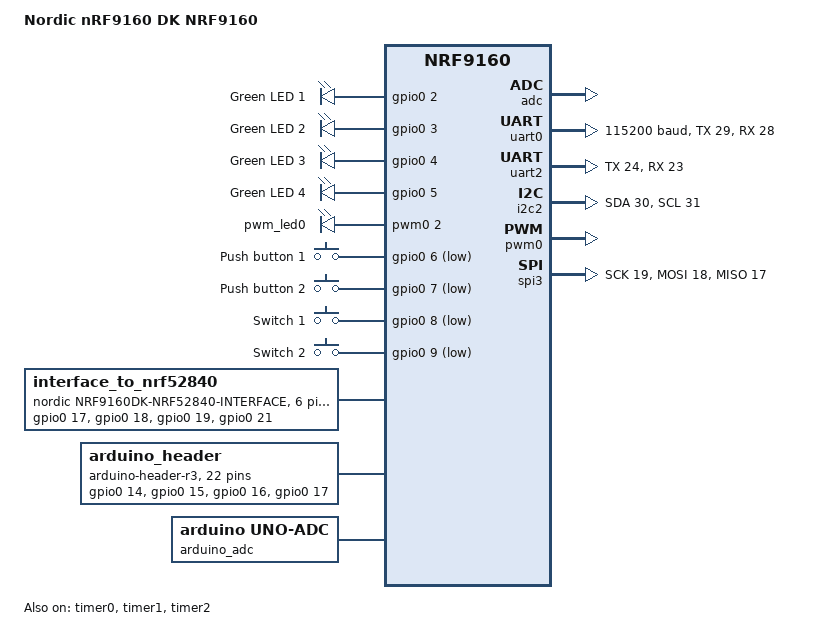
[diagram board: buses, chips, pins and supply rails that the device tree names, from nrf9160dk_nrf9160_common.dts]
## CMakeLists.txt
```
#
# Copyright (c) 2019 Nordic Semiconductor ASA
#
# SPDX-License-Identifier: LicenseRef-BSD-5-Clause-Nordic
#

cmake_minimum_required(VERSION 3.20.0)

if (EXISTS "${CMAKE_CURRENT_SOURCE_DIR}/spm.conf")
  set(spm_CONF_FILE
    prj.conf
    ${CMAKE_CURRENT_LIST_DIR}/spm.conf
  )
endif()

if (EXISTS "${CMAKE_CURRENT_SOURCE_DIR}/mcuboot.conf")
  set(mcuboot_CONF_FILE
    prj.conf
    ${CMAKE_CURRENT_LIST_DIR}/mcuboot.conf
  )
endif()

if (EXISTS "${CMAKE_CURRENT_SOURCE_DIR}/spm.overlay")
  set(spm_DTC_OVERLAY_FILE "${CMAKE_CURRENT_SOURCE_DIR}/spm.overlay")
endif()

if (EXISTS "${CMAKE_CURRENT_SOURCE_DIR}/mcuboot.overlay")
  set(mcuboot_DTC_OVERLAY_FILE "${CMAKE_CURRENT_SOURCE_DIR}/mcuboot.overlay")
endif()

#include($ENV{ZEPHYR_BASE}/cmake/app/boilerplate.cmake NO_POLICY_SCOPE)
find_package(Zephyr REQUIRED HINTS $ENV{ZEPHYR_BASE})
project(E2)

#FILE(GLOB app_sources src/*.c)
target_sources(app PRIVATE src/main.c)
target_include_directories(app PRIVATE $ENV{ZEPHYR_BASE}/subsys/fs/nvs)

add_subdirectory(src/datetime)
add_subdirectory(src/alarm)
add_subdirectory(src/font)
add_subdirectory(src/image)
add_subdirectory(src/lcd)
add_subdirectory(src/key)
add_subdirectory(src/settings)
add_subdirectory(src/inner_flash)
add_subdirectory(src/external_flash)
add_subdirectory(src/uart_ble)
add_subdirectory(src/imei)
add_subdirectory(src/gps)
add_subdirectory(src/nb)
add_subdirectory(src/screen)
add_subdirectory(src/pmu)
add_subdirectory(src/sos)
add_subdirectory(src/codetrans)
add_subdirectory(src/ucs2)
add_subdirectory(src/communicate)
add_subdirectory(src/logger)
#add_subdirectory(src/cryptoauthentication)

add_subdirectory_ifdef(CONFIG_ANIMATION_SUPPORT src/animation)
add_subdirectory_ifdef(CONFIG_TOUCH_SUPPORT src/tp)
add_subdirectory_ifdef(CONFIG_IMU_SUPPORT src/imu)
add_subdirectory_ifdef(CONFIG_PPG_SUPPORT src/ppg)
add_subdirectory_ifdef(CONFIG_AUDIO_SUPPORT src/audio)
add_subdirectory_ifdef(CONFIG_TEMP_SUPPORT src/temperature)
add_subdirectory_ifdef(CONFIG_CRC_SUPPORT src/crc_check)
add_subdirectory_ifdef(CONFIG_SYNC_SUPPORT src/sync)
add_subdirectory_ifdef(CONFIG_WIFI src/wifi)
add_subdirectory_ifdef(CONFIG_WATCHDOG src/watchdog)
add_subdirectory_ifdef(CONFIG_FOTA_DOWNLOAD src/fota)
add_subdirectory_ifdef(CONFIG_DATA_DOWNLOAD_SUPPORT src/data_download)
```

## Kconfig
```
#
# Copyright (c) 2018 Nordic Semiconductor ASA
#
# SPDX-License-Identifier: LicenseRef-BSD-5-Clause-Nordic
#
choice LOG_MODE
	default LOG_MODE_IMMEDIATE
endchoice

menu "GNSS"

choice
	default GNSS_SAMPLE_MODE_CONTINUOUS
	prompt "Select GNSS operation mode"

config GNSS_SAMPLE_MODE_CONTINUOUS
	bool "Continuous tracking"

config GNSS_SAMPLE_MODE_PERIODIC
	bool "Periodic fixes"

config GNSS_SAMPLE_MODE_TTFF_TEST
	bool "Time-to-first-fix (TTFF) test mode"
	select GNSS_SAMPLE_NMEA_ONLY

endchoice

if GNSS_SAMPLE_MODE_PERIODIC

config GNSS_SAMPLE_PERIODIC_INTERVAL
	int "Fix interval for periodic fixes"
	range 10 65535
	default 120
	help
	  Fix interval (in seconds) for periodic fixes.

config GNSS_SAMPLE_PERIODIC_TIMEOUT
	int "Fix timeout for periodic fixes"
	range 0 65535
	default 120
	help
	  Fix timeout (in seconds) for periodic fixes.
	  If set to zero, GNSS is allowed to run indefinitely until a valid PVT estimate is produced.

endif # GNSS_SAMPLE_MODE_PERIODIC

if GNSS_SAMPLE_MODE_TTFF_TEST

config GNSS_SAMPLE_MODE_TTFF_TEST_COLD_START
	bool "Delete GNSS data before each start (cold start)"
	help
	  When enabled, deletes all stored data from GNSS to force a cold start every time GNSS is started.

config GNSS_SAMPLE_MODE_TTFF_TEST_INTERVAL
	int "Time to wait between TTFF tests in seconds"
	range 1 604800
	default 120

endif # GNSS_SAMPLE_MODE_TTFF_TEST

config GNSS_SAMPLE_NMEA_ONLY
	bool "Output only NMEA strings"
	help
	  Outputs only NMEA strings from the GNSS.

choice
	default GNSS_SAMPLE_ANTENNA_ONBOARD
	prompt "Select which antenna to use for GNSS"

config GNSS_SAMPLE_ANTENNA_ONBOARD
	bool "Use onboard antenna"

config GNSS_SAMPLE_ANTENNA_EXTERNAL
	bool "Use external antenna"

endchoice

config GNSS_SAMPLE_AT_MAGPIO
	string "AT%XMAGPIO command"
	# default "AT\%XMAGPIO=1,0,0,1,1,1574,1577" if BOARD_NRF9160DK_NRF9160_NS
	# default "AT\%XMAGPIO=1,1,1,7,1,746,803,2,698,748,2,1710,2200,3,824,894,4,880,960,5,791,849,7,1565,1586" if BOARD_THINGY91_NRF9160_NS
	default "AT\%XMAGPIO=1,1,1,7,1,746,803,2,698,748,2,1710,2200,3,824,894,4,880,960,5,791,849,7,1565,1586"
	help
	  Defines the AT%XMAGPIO command to be sent to GNSS module. Leave
	  empty if this command should not be sent.

config GNSS_SAMPLE_AT_COEX0
	string "AT%XCOEX0 command"
	# default "AT\%XCOEX0=1,1,1565,1586" if (BOARD_NRF9160DK_NRF9160_NS || BOARD_THINGY91_NRF9160_NS) && GNSS_SAMPLE_ANTENNA_ONBOARD
	# default "AT\%XCOEX0" if (BOARD_NRF9160DK_NRF9160_NS || BOARD_THINGY91_NRF9160_NS) && GNSS_SAMPLE_ANTENNA_EXTERNAL
	default "AT\%XCOEX0=1,1,1565,1586"
	help
	  Defines the AT%XCOEX0 command to be sent to GNSS module. Leave
	  empty if this command should not be sent.

endmenu

choice
	default GNSS_SAMPLE_ASSISTANCE_NONE
	prompt "Select whether GNSS assistance is used or not"

config GNSS_SAMPLE_ASSISTANCE_NONE
	bool "Assistance not used"

config GNSS_SAMPLE_ASSISTANCE_NRF_CLOUD
	bool "Use nRF Cloud A-GPS or P-GPS"
	select NRF_CLOUD_REST
	imply NRF_CLOUD_AGPS
	select MODEM_JWT
	select MODEM_INFO
	select DATE_TIME

config GNSS_SAMPLE_ASSISTANCE_SUPL
	bool "Use SUPL A-GPS"
	select SUPL_CLIENT_LIB

config GNSS_SAMPLE_ASSISTANCE_MINIMAL
	bool "Use factory almanac, LTE network time and MCC based location"
	select GNSS_SAMPLE_LTE_ON_DEMAND
	select SETTINGS
	select FCB
	select FLASH
	select FLASH_MAP

endchoice

if !GNSS_SAMPLE_ASSISTANCE_NONE

config GNSS_SAMPLE_LTE_ON_DEMAND
	bool "LTE is activated only when needed to fetch A-GPS data"
	depends on !NRF_CLOUD_PGPS
	help
	  Activates LTE only when it is needed to fetch A-GPS data. This is not supported when
	  P-GPS is enabled.

endif # !GNSS_SAMPLE_ASSISTANCE_NONE

if GNSS_SAMPLE_ASSISTANCE_SUPL

config GNSS_SAMPLE_SUPL_HOSTNAME
	string "SUPL server hostname"
	default "supl.google.com"
	help
	  SUPL server hostname.

config GNSS_SAMPLE_SUPL_PORT
	int "SUPL server port number"
	range 0 65535
	default 7276
	help
	  SUPL server port number.

endif # GNSS_SAMPLE_ASSISTANCE_SUPL

if GNSS_SAMPLE_MODE_CONTINUOUS

choice
	default GNSS_SAMPLE_POWER_SAVING_DISABLED
	prompt "Select GNSS power saving mode (duty-cycling)"

config GNSS_SAMPLE_POWER_SAVING_DISABLED
	bool "No power saving"

config GNSS_SAMPLE_POWER_SAVING_MODERATE
	bool "Power saving without significant performance degradation"

config GNSS_SAMPLE_POWER_SAVING_HIGH
	bool "Power saving with acceptable performance degradation"

endchoice

endif # GNSS_SAMPLE_MODE_CONTINUOUS

config GNSS_SAMPLE_LOW_ACCURACY
	bool "Allow low accuracy fixes"
	help
	  Allows fixes with lower accuracy.

if GNSS_SAMPLE_ASSISTANCE_MINIMAL && GNSS_SAMPLE_LOW_ACCURACY

config GNSS_SAMPLE_ASSISTANCE_REFERENCE_ALT
	int "Reference altitude for 3-sat first fix in meters"
	range -32767 32767
	default -32767
	help
	  Reference altitude for 3-sat first fix in meters above the reference ellipsoid surface.
	  The default value -32767 implies that reference altitude is not injected.

endif # GNSS_SAMPLE_ASSISTANCE_MINIMAL && GNSS_SAMPLE_LOW_ACCURACY

menu "MQTT simple sample"
config APPLICATION_WORKQUEUE_STACK_SIZE
	int "Application workqueue stack size"
	default 1024

config APPLICATION_WORKQUEUE_PRIORITY
	int "Application workqueue priority"
	default SYSTEM_WORKQUEUE_PRIORITY
	
config MQTT_PUB_TOPIC
	string "MQTT publish topic"
	default "my/publish/topic"

config MQTT_SUB_TOPIC
	string "MQTT subscribe topic"
	default "my/subscribe/topic"

config MQTT_CLIENT_ID
	string "MQTT Client ID"
	default "my-client-id"

config MQTT_USER_NAME
	string "MQTT user name"
	default "admin123"
	
config MQTT_PASSWORD
	string "MQTT password"
	default "admin123"

config MQTT_DOMESTIC_BROKER_HOSTNAME
	string "MQTT broker hostname"
	default "mqtt.eclipse.org"

config MQTT_DOMESTIC_BROKER_PORT
	int "MQTT broker port"
	default 1883
	
config MQTT_FOREIGN_BROKER_HOSTNAME
	string "MQTT broker hostname"
	default "mqtt.eclipse.org"

config MQTT_FOREIGN_BROKER_PORT
	int "MQTT broker port"
	default 1883

config MQTT_MESSAGE_BUFFER_SIZE
	int "MQTT message buffer size"
	default 128

config MQTT_PAYLOAD_BUFFER_SIZE
	int "MQTT payload buffer size"
	default 128

config SEC_TAG
	int "Security tag to use for the connection"
	default 16842753

config PEER_VERIFY
	int "Peer verify parameter for mqtt_client"
	default 1
	help
		Set to 0 for VERIFY_NONE, 1 for VERIFY_OPTIONAL, and 2 for VERIFY_REQUIRED.

config MODEM_AUTO_REQUEST_POWER_SAVING_FEATURES
	bool "Auto request power saving features"
	default y

config LTE_EDRX_ENABLE
	bool "Enable LTE enhanced Discontinuous Reception"

config LTE_RAI_ENABLE
	bool "Enable LTE Release Assistance Indication"
endmenu

menu "WATCH DOG"
config WATCHDOG_TIMEOUT_MSEC
	int "Watchdog timeout in milliseconds"
	default 10000
endmenu

menu "ANIMATION"
config ANIMATION_SUPPORT
	bool "animation support"
	default n
endmenu #ANIMATION

menu "TOUCH"
config TOUCH_SUPPORT
	bool "touch support"
	default n
endmenu #TOUCH

menu "PPG"
config PPG_SUPPORT
	bool "ppg support"
	default n
endmenu #PPG


menu "IMU"
config IMU_SUPPORT
	bool "imu support"
	default n
config STEP_SUPPORT
	bool "step support"
	default n		
config SLEEP_SUPPORT
	bool "sleep support"
	default n		
config FALL_DETECT_SUPPORT
	bool "fall detect support"
	default n		
endmenu #IMU

menu "AUDIO"
config AUDIO_SUPPORT
	bool "ppg support"
	default n
endmenu #AUDIO

menu "SYNC"
config SYNC_SUPPORT
	bool "sync support"
	default n
endmenu #SYNC

menu "TEMPERATURE"
config TEMP_SUPPORT
	bool "temperature support"
	default n
endmenu #TEMPERATURE

menu "CRC"
config CRC_SUPPORT
	bool "crc check support"
	default n
endmenu #CRC

menu "DATA_DOWNLOAD"
config DATA_DOWNLOAD_SUPPORT
	bool "data download support"
	default n
config DATA_DOWNLOAD_HOST_CN
	string "Download host name(cn)"	
config DATA_DOWNLOAD_HOST_HK
	string "Download host name(hk)"	
# IMG	
config IMG_DATA_UPDATE
	bool "img update support"
	default n
config IMG_DATA_DOWNLOAD_FILE
	string "The file to download"

# FONT
config FONT_DATA_UPDATE
	bool "font update support"
	default n
config FONT_DATA_DOWNLOAD_FILE
	string "The file to download"

# PPG
config PPG_DATA_UPDATE
	bool "ppg update support"
	default n
config PPG_DATA_DOWNLOAD_FILE
	string "The file to download"

config USE_HTTPS
	bool
	prompt "Use HTTPS for download"
	depends on DOWNLOAD_CLIENT_TLS	
endmenu #DATA_DOWNLOAD 

menu "IMG_UPDATE"
config DL_TARGET_UI
	bool "img ui update support"
	default n
endmenu #IMG_UPDATE

menu "FOTA_MQTT"
config FOTA_DOWNLOAD_HOST_CN
	string "Download host name(cn)"
config FOTA_DOWNLOAD_HOST_HK
	string "Download host name(hk)"

config FOTA_DOWNLOAD_FILE
	string "The file to download"

config APPLICATION_VERSION
	int "Application version"
	default 1

config USE_HTTPS
	bool
	prompt "Use HTTPS for download"
	depends on DOWNLOAD_CLIENT_TLS
endmenu #FOTA_MQTT

menu "Zephyr Kernel"
source "Kconfig.zephyr"
endmenu

module = APPLICATION_MODULE
module-str = Application module
source "subsys/logging/Kconfig.template.log_config"
```

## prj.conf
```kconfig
#
# Copyright (c) 2019 Nordic Semiconductor ASA
#
# SPDX-License-Identifier: LicenseRef-BSD-5-Clause-Nordic
#
# General config
CONFIG_NEWLIB_LIBC=y
CONFIG_NEWLIB_LIBC_FLOAT_PRINTF=y
CONFIG_ASSERT=y
CONFIG_REBOOT=y
CONFIG_GPIO=y
CONFIG_TRUSTED_EXECUTION_NONSECURE=y

# Log
CONFIG_LOG=y
CONFIG_USE_SEGGER_RTT=y
CONFIG_LOG_BACKEND_RTT=y
CONFIG_LOG_BACKEND_UART=n
CONFIG_LOG_DEFAULT_LEVEL=4
CONFIG_LOG_MODE_OVERFLOW=y
CONFIG_LOG_BACKEND_RTT_MODE_DROP=y
CONFIG_LOG_BACKEND_SHOW_COLOR=n
CONFIG_LOG_BACKEND_FORMAT_TIMESTAMP=n

# watch dog
CONFIG_WATCHDOG=y
CONFIG_WATCHDOG_TIMEOUT_MSEC=10000

# Modem info
CONFIG_MODEM_INFO=y

# Modem library
CONFIG_NRF_MODEM_LIB=y
CONFIG_NRF_MODEM_LIB_SYS_INIT=n

# BSD library
#CONFIG_BSD_LIBRARY=y
#CONFIG_BSD_LIBRARY_TRACE_ENABLED=n

# NVS
CONFIG_FLASH=y
CONFIG_FLASH_PAGE_LAYOUT=y
CONFIG_NVS=y
CONFIG_NVS_LOG_LEVEL_DBG=y
CONFIG_MPU_ALLOW_FLASH_WRITE=y

# GPS
# Enable to use an external GNSS antenna
CONFIG_GNSS_SAMPLE_ANTENNA_EXTERNAL=y
# Enable to use nRF Cloud A-GPS
CONFIG_GNSS_SAMPLE_ASSISTANCE_NRF_CLOUD=n
# Secure User-Plane Location (SUPL) client library (https://developer.nordicsemi.com/nRF_Connect_SDK/doc/latest/nrf/libraries/others/supl_os_client.html)
CONFIG_GNSS_SAMPLE_ASSISTANCE_SUPL=y

# AT_CMD
#CONFIG_AT_HOST_LIBRARY=y
#CONFIG_UART_INTERRUPT_DRIVEN=y

# Console
CONFIG_CONSOLE_SUBSYS=n
CONFIG_CONSOLE_HANDLER=n
CONFIG_CONSOLE_GETCHAR=n
CONFIG_CONSOLE=y
CONFIG_RTT_CONSOLE=y
CONFIG_UART_CONSOLE=n

# Network
CONFIG_NETWORKING=y
CONFIG_NET_NATIVE=n
CONFIG_NET_SOCKETS_OFFLOAD=y
CONFIG_NET_SOCKETS=y
CONFIG_NET_SOCKETS_POSIX_NAMES=y

# LTE link control
CONFIG_LTE_LINK_CONTROL=y
CONFIG_LTE_AUTO_INIT_AND_CONNECT=n
CONFIG_LTE_NETWORK_USE_FALLBACK=y
CONFIG_LTE_NETWORK_TIMEOUT=120
CONFIG_LTE_NETWORK_MODE_LTE_M_GPS=n
CONFIG_LTE_NETWORK_MODE_NBIOT_GPS=y

# PSM
CONFIG_MODEM_AUTO_REQUEST_POWER_SAVING_FEATURES=y
# Set Periodic-TAU timer to 1 hour and Active-Time to 10 seconds.
CONFIG_LTE_PSM_REQ_RPTAU="01000110"
CONFIG_LTE_PSM_REQ_RAT="00000101"

# MQTT
CONFIG_MQTT_LIB=y
CONFIG_MQTT_LIB_TLS=n
CONFIG_MQTT_KEEPALIVE=300
CONFIG_MQTT_PUB_TOPIC="device/e2/pushdata"
CONFIG_MQTT_SUB_TOPIC="device/e2/"
CONFIG_MQTT_CLIENT_ID="my-client-id"
CONFIG_MQTT_USER_NAME="admin123"
CONFIG_MQTT_PASSWORD="admin123"
CONFIG_MQTT_DOMESTIC_BROKER_HOSTNAME="47.107.51.89"
CONFIG_MQTT_DOMESTIC_BROKER_PORT=1883
CONFIG_MQTT_FOREIGN_BROKER_HOSTNAME="18.135.53.53"
CONFIG_MQTT_FOREIGN_BROKER_PORT=1883
CONFIG_MQTT_MESSAGE_BUFFER_SIZE=512
CONFIG_MQTT_PAYLOAD_BUFFER_SIZE=512

# Library for buttons and LEDs
CONFIG_DK_LIBRARY=y
CONFIG_DK_LIBRARY_INVERT_LEDS=n

# Heap and stacks
CONFIG_HEAP_MEM_POOL_SIZE=16384
CONFIG_MAIN_STACK_SIZE=8192
CONFIG_SYSTEM_WORKQUEUE_STACK_SIZE=2048
CONFIG_HW_STACK_PROTECTION=y

# SPI
CONFIG_SPI=y

# I2C
CONFIG_I2C=y

# UART
CONFIG_SERIAL=y
CONFIG_UART_INTERRUPT_DRIVEN=y

# ANIMATION
CONFIG_ANIMATION_SUPPORT=y

# PPG
CONFIG_PPG_SUPPORT=y

# IMU
CONFIG_IMU_SUPPORT=y
CONFIG_STEP_SUPPORT=n
CONFIG_SLEEP_SUPPORT=n
CONFIG_FALL_DETECT_SUPPORT=n

# WIFI
CONFIG_WIFI=n

# TP
CONFIG_TOUCH_SUPPORT=y

# AUDIO
CONFIG_AUDIO_SUPPORT=n

# Data Sync
CONFIG_SYNC_SUPPORT=y

# Temperature
CONFIG_TEMP_SUPPORT=y

# CRC Check
CONFIG_CRC_SUPPORT=y

# DEVICE POWER MANAGEMENT
CONFIG_PM_DEVICE=y

# Download client
CONFIG_DOWNLOAD_CLIENT=y
CONFIG_DOWNLOAD_CLIENT_MAX_HOSTNAME_SIZE=192
CONFIG_DOWNLOAD_CLIENT_MAX_FILENAME_SIZE=64
CONFIG_DOWNLOAD_CLIENT_STACK_SIZE=4096

# DATA UPDATE
CONFIG_DATA_DOWNLOAD_SUPPORT=y
CONFIG_DATA_DOWNLOAD_HOST_HK="aug-fm-files-hk.oss-cn-hongkong.aliyuncs.com"
CONFIG_DATA_DOWNLOAD_HOST_CN="aug-fm-files-cn.oss-cn-shenzhen.aliyuncs.com"
# IMG
CONFIG_IMG_DATA_UPDATE=y
CONFIG_IMG_DATA_DOWNLOAD_FILE="e2_img.bin"
# FONT
CONFIG_FONT_DATA_UPDATE=y
CONFIG_FONT_DATA_DOWNLOAD_FILE="e2_font.bin"
# PPG
CONFIG_PPG_DATA_UPDATE=y
CONFIG_PPG_DATA_DOWNLOAD_FILE="e2_ppg.bin"

# fota download
CONFIG_FOTA_DOWNLOAD=y
CONFIG_FOTA_DOWNLOAD_PROGRESS_EVT=y
CONFIG_FOTA_DOWNLOAD_HOST_HK="aug-fm-files-hk.oss-cn-hongkong.aliyuncs.com"
CONFIG_FOTA_DOWNLOAD_HOST_CN="aug-fm-files-cn.oss-cn-shenzhen.aliyuncs.com"
CONFIG_FOTA_DOWNLOAD_FILE="e2_update.bin"

# Image manager
CONFIG_IMG_MANAGER=y
CONFIG_FLASH=y
CONFIG_IMG_ERASE_PROGRESSIVELY=y

# DFU Target
CONFIG_DFU_TARGET=y

# Modem key management
CONFIG_MODEM_KEY_MGMT=y

# Application Upgrade support
CONFIG_BOOTLOADER_MCUBOOT=y
```

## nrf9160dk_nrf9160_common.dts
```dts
/*
 * Copyright (c) 2018-2020 Nordic Semiconductor ASA
 *
 * SPDX-License-Identifier: Apache-2.0
 */

 / {
	model = "Nordic nRF9160 DK NRF9160";
	compatible = "nordic,nrf9160-dk-nrf9160";

	chosen {
		zephyr,console = &uart0;
		zephyr,shell-uart = &uart0;
		zephyr,uart-mcumgr = &uart0;
	};

	leds {
		compatible = "gpio-leds";
		led0: led_0 {
			gpios = <&gpio0 2 0>;
			label = "Green LED 1";
		};
		led1: led_1 {
			gpios = <&gpio0 3 0>;
			label = "Green LED 2";
		};
		led2: led_2 {
			gpios = <&gpio0 4 0>;
			label = "Green LED 3";
		};
		led3: led_3 {
			gpios = <&gpio0 5 0>;
			label = "Green LED 4";
		};
	};

	pwmleds {
		compatible = "pwm-leds";
		pwm_led0: pwm_led_0 {
			pwms = <&pwm0 2>;
		};
	};

	buttons {
		/*
		 * Unlike most DK boards, we do not actually have 4 buttons
		 * on nRF9160 DK. Instead, we have 2 buttons and 2 switches.
		 * Treat the switches as buttons anyway, for convenience.
		 * This makes life easier for software that wants to deal with
		 * the usual "4 buttons per DK board" convention.
		 */
		compatible = "gpio-keys";
		button0: button_0 {
			gpios = <&gpio0 6 (GPIO_PULL_UP | GPIO_ACTIVE_LOW)>;
			label = "Push button 1";
		};
		button1: button_1 {
			gpios = <&gpio0 7 (GPIO_PULL_UP | GPIO_ACTIVE_LOW)>;
			label = "Push button 2";
		};
		button2: button_2 {
			gpios = <&gpio0 8 (GPIO_PULL_UP | GPIO_ACTIVE_LOW)>;
			label = "Switch 1";
		};
		button3: button_3 {
			gpios = <&gpio0 9 (GPIO_PULL_UP | GPIO_ACTIVE_LOW)>;
			label = "Switch 2";
		};
	};

	interface_to_nrf52840: gpio-interface {
		compatible = "nordic,nrf9160dk-nrf52840-interface";
		#gpio-cells = <2>;
		gpio-map-mask = <0xf 0>;
		gpio-map-pass-thru = <0 0xffffffff>;
		gpio-map = <0 0 &gpio0 17 0>,
			   <1 0 &gpio0 18 0>,
			   <2 0 &gpio0 19 0>,
			   <3 0 &gpio0 21 0>,
			   <4 0 &gpio0 22 0>,
			   <5 0 &gpio0 23 0>;
			   /* 6: COEX0 */
			   /* 7: COEX1 */
			   /* 8: COEX2 */
	};

	nrf52840_reset: gpio-reset {
		compatible = "nordic,nrf9160dk-nrf52840-reset";
		status = "disabled";
		/*
		 * This line is specified as active high for compatibility
		 * with the previously used Kconfig-based configuration.
		 */
		gpios = <&interface_to_nrf52840 5 GPIO_ACTIVE_HIGH>;
	};

	arduino_header: connector {
		compatible = "arduino-header-r3";
		#gpio-cells = <2>;
		gpio-map-mask = <0xffffffff 0xffffffc0>;
		gpio-map-pass-thru = <0 0x3f>;
		gpio-map = <0 0 &gpio0 14 0>,	/* A0 */
			   <1 0 &gpio0 15 0>,	/* A1 */
			   <2 0 &gpio0 16 0>,	/* A2 */
			   <3 0 &gpio0 17 0>,	/* A3 */
			   <4 0 &gpio0 18 0>,	/* A4 */
			   <5 0 &gpio0 19 0>,	/* A5 */
			   <6 0 &gpio0 0 0>,	/* D0 */
			   <7 0 &gpio0 1 0>,	/* D1 */
			   <8 0 &gpio0 2 0>,	/* D2 */
			   <9 0 &gpio0 3 0>,	/* D3 */
			   <10 0 &gpio0 4 0>,	/* D4 */
			   <11 0 &gpio0 5 0>,	/* D5 */
			   <12 0 &gpio0 6 0>,	/* D6 */
			   <13 0 &gpio0 7 0>,	/* D7 */
			   <14 0 &gpio0 8 0>,	/* D8 */
			   <15 0 &gpio0 9 0>,	/* D9 */
			   <16 0 &gpio0 10 0>,	/* D10 */
			   <17 0 &gpio0 11 0>,	/* D11 */
			   <18 0 &gpio0 12 0>,	/* D12 */
			   <19 0 &gpio0 13 0>,	/* D13 */
			   <20 0 &gpio0 30 0>,	/* D14 */
			   <21 0 &gpio0 31 0>;	/* D15 */
	};

	arduino_adc: analog-connector {
		compatible = "arduino,uno-adc";
		#io-channel-cells = <1>;
		io-channel-map = <0 &adc 1>,	/* A0 = P0.14 = AIN1 */
				 <1 &adc 2>,	/* A1 = P0.15 = AIN2 */
				 <2 &adc 3>,	/* A2 = P0.16 = AIN3 */
				 <3 &adc 4>,	/* A3 = P0.17 = AIN4 */
				 <4 &adc 5>,	/* A4 = P0.18 = AIN5 */
				 <5 &adc 6>;	/* A5 = P0.19 = AIN6 */
	};

	/* These aliases are provided for compatibility with samples */
	aliases {
		led0 = &led0;
		led1 = &led1;
		led2 = &led2;
		led3 = &led3;
		pwm-led0 = &pwm_led0;
		sw0 = &button0;
		sw1 = &button1;
		sw2 = &button2;
		sw3 = &button3;
		bootloader-led0 = &led0;
	};
};

&adc {
	status = "okay";
};

&gpiote {
	status = "okay";
};

&gpio0 {
	status = "okay";
};

&uart0 {
	status = "okay";
	current-speed = <115200>;
	tx-pin = <29>;
	rx-pin = <28>;
	rx-pull-up;
	rts-pin = <27>;
	cts-pin = <26>;
	cts-pull-up;
};

arduino_serial: &uart1 {
	status = "disabled";
	current-speed = <115200>;
	tx-pin = <1>;
	rx-pin = <0>;
	rx-pull-up;
	rts-pin = <14>;
	cts-pin = <15>;
	cts-pull-up;
};

&uart2 {
	tx-pin = <24>;
	rx-pin = <23>;
};

arduino_i2c: &i2c2 {
	compatible = "nordic,nrf-twim";
	status = "okay";
	sda-pin = <30>;
	scl-pin = <31>;
};

&pwm0 {
	status = "okay";
	ch0-pin = <2>;
};

&spi3 {
	compatible = "nordic,nrf-spim";
	status = "okay";
	sck-pin = <19>;
	mosi-pin = <18>;
	miso-pin = <17>;
};

&timer0 {
	status = "okay";
};

&timer1 {
	status = "okay";
};

&timer2 {
	status = "okay";
};

&flash0 {

	partitions {
		compatible = "fixed-partitions";
		#address-cells = <1>;
		#size-cells = <1>;

		boot_partition: partition@0 {
			label = "mcuboot";
			reg = <0x00000000 0x10000>;
		};
		slot0_partition: partition@10000 {
			label = "image-0";
		};
		slot0_ns_partition: partition@50000 {
			label = "image-0-nonsecure";
		};
		slot1_partition: partition@80000 {
			label = "image-1";
		};
		slot1_ns_partition: partition@c0000 {
			label = "image-1-nonsecure";
		};
		scratch_partition: partition@f0000 {
			label = "image-scratch";
			reg = <0x000f0000 0xa000>;
		};
		storage_partition: partition@fa000 {
			label = "storage";
			reg = <0x000fa000 0x00006000>;
		};
	};
};

/ {

	reserved-memory {
		#address-cells = <1>;
		#size-cells = <1>;
		ranges;

		sram0_s: image_s@20000000 {
			/* Secure image memory */
		};

		sram0_modem: image_modem@20016000 {
			/* Modem (shared) memory */
		};

		sram0_ns: image_ns@20020000 {
			/* Non-Secure image memory */
		};
	};
};

/* Include partition configuration file */
#include "nrf9160dk_nrf9160_partition_conf.dts"
```

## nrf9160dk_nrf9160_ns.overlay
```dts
&spi2{
	compatible = "nordic,nrf-spim";
	status = "okay";
	sck-pin = <3>;
	mosi-pin = <4>;
	miso-pin = <5>;
};

&spi3{
	compatible = "nordic,nrf-spim";
	status = "okay";
	sck-pin = <22>;
	mosi-pin = <20>;
	miso-pin = <20>;
};

&i2c1{
	compatible = "nordic,nrf-twim";
	status = "okay";
	sda-pin = <30>;
	scl-pin = <31>;
	clock-frequency = <I2C_BITRATE_FAST>;
};

&i2c2{
	compatible = "nordic,nrf-twim";
	status = "disabled";
};

&uart0{
	status = "okay";
	current-speed = <115200>;
	tx-pin = <29>;
	rx-pin = <28>;
	#rts-pin = <14>;
	#cts-pin = <15>;
};

&uart1{
	status = "disabled";
};
```

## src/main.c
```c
/*
* Copyright (c) 2019 Nordic Semiconductor ASA
*
* SPDX-License-Identifier: LicenseRef-BSD-5-Clause-Nordic
*/

#include <nrf9160.h>
#include <zephyr.h>
#include <kernel_structs.h>
#include <device.h>
#include <stdio.h>
#include <sys/printk.h>
#include <power/reboot.h>
#include <drivers/spi.h>
#include <drivers/gpio.h>
#include <dk_buttons_and_leds.h>
#include "lcd.h"
#include "datetime.h"
#include "font.h"
#include "img.h"
#include "inner_flash.h"
#include "external_flash.h"
#include "uart_ble.h"
#include "settings.h"
#ifdef CONFIG_TOUCH_SUPPORT
#include "CST816.h"
#endif
#include "Max20353.h"
#ifdef CONFIG_IMU_SUPPORT
#include "lsm6dso.h"
#endif
#include "Alarm.h"
#include "gps.h"
#include "screen.h"
#include "codetrans.h"
#ifdef CONFIG_AUDIO_SUPPORT
#include "audio.h"
#endif
#ifdef CONFIG_WATCHDOG
#include "watchdog.h"
#endif
#ifdef CONFIG_TEMP_SUPPORT
#include "temp.h"
#endif
#include "logger.h"

//#define ANALOG_CLOCK
#define DIGITAL_CLOCK
#define PI 3.1415926

static bool sys_pwron_completed_flag = false;
static uint8_t show_pic_count = 0;//图片显示顺序

/* Stack definition for application workqueue */
K_THREAD_STACK_DEFINE(nb_stack_area,
		      4096);
static struct k_work_q nb_work_q;

#ifdef CONFIG_IMU_SUPPORT
K_THREAD_STACK_DEFINE(imu_stack_area,
              2048);
static struct k_work_q imu_work_q;
#endif

K_THREAD_STACK_DEFINE(gps_stack_area,
              2048);
static struct k_work_q gps_work_q;

#if defined(ANALOG_CLOCK)
static void test_show_analog_clock(void);
#elif defined(DIGITAL_CLOCK)
static void test_show_digital_clock(void);
#endif
static void idle_show_time(void);

#ifdef ANALOG_CLOCK
void ClearAnalogHourPic(int hour)
{
	uint16_t offset_x=4,offset_y=4;
	uint16_t hour_x,hour_y,hour_w,hour_h;

	LCD_get_pic_size(clock_hour_1_31X31,&hour_w,&hour_h);
	hour_x = (LCD_WIDTH)/2;
	hour_y = (LCD_HEIGHT)/2;

	if((hour%12) == 3)
		LCD_Fill(hour_x-offset_x,hour_y+offset_y-hour_h,hour_w,hour_h,BLACK);
	else if((hour%12) == 6)
		LCD_Fill(hour_x-offset_x,hour_y-offset_y,hour_w,hour_h,BLACK);
	else if((hour%12) == 9)
		LCD_Fill(hour_x+offset_x-hour_w,hour_y-offset_y,hour_w,hour_h,BLACK);
	else if((hour%12) == 0)
		LCD_Fill(hour_x+offset_x-hour_w,hour_y+offset_y-hour_h,hour_w,hour_h,BLACK);
}

void DrawAnalogHourPic(int hour)
{
	uint16_t offset_x=4,offset_y=4;
	uint16_t hour_x,hour_y,hour_w,hour_h;
	unsigned int *hour_pic[3] = {clock_hour_1_31X31,clock_hour_2_31X31,clock_hour_3_31X31};

	LCD_get_pic_size(clock_hour_1_31X31,&hour_w,&hour_h);
	hour_x = (LCD_WIDTH)/2;
	hour_y = (LCD_HEIGHT)/2;

	if((hour%12)<3)
		LCD_dis_pic_rotate(hour_x-offset_x,hour_y+offset_y-hour_h,hour_pic[hour%3],0);
	else if(((hour%12)>=3) && ((hour%12)<6))
		LCD_dis_pic_rotate(hour_x-offset_x,hour_y-offset_y,hour_pic[hour%3],90);
	else if(((hour%12)>=6) && ((hour%12)<9))
		LCD_dis_pic_rotate(hour_x+offset_x-hour_w,hour_y-offset_y,hour_pic[hour%3],180);
	else if(((hour%12)>=9) && ((hour%12)<12))
		LCD_dis_pic_rotate(hour_x+offset_x-hour_w,hour_y+offset_y-hour_h,hour_pic[hour%3],270);
}

void ClearAnalogMinPic(int minute)
{
	uint16_t offset_x=4,offset_y=4;
	uint16_t min_x,min_y,min_w,min_h;
	
	LCD_get_pic_size(clock_min_1_31X31,&min_w,&min_h);
	min_x = (LCD_WIDTH)/2;
	min_y = (LCD_HEIGHT)/2;

	if(minute == 15)
		LCD_Fill(min_x-offset_x,min_y+offset_y-min_h,min_w,min_h,BLACK);
	else if(minute == 30)
		LCD_Fill(min_x-offset_x,min_y-offset_y,min_w,min_h,BLACK);
	else if(minute == 45)
		LCD_Fill(min_x+offset_x-min_w,min_y-offset_y,min_w,min_h,BLACK);
	else if(minute == 0)
		LCD_Fill(min_x+offset_x-min_w,min_y+offset_y-min_h,min_w,min_h,BLACK);
}

void DrawAnalogMinPic(int hour, int minute)
{
	uint16_t offset_x=4,offset_y=4;
	uint16_t min_x,min_y,min_w,min_h;
	unsigned int *min_pic[15] = {clock_min_1_31X31,clock_min_2_31X31,clock_min_3_31X31,clock_min_4_31X31,clock_min_5_31X31,\
								 clock_min_6_31X31,clock_min_7_31X31,clock_min_8_31X31,clock_min_9_31X31,clock_min_10_31X31,\
								 clock_min_11_31X31,clock_min_12_31X31,clock_min_13_31X31,clock_min_14_31X31,clock_min_15_31X31};
	
	LCD_get_pic_size(clock_min_1_31X31,&min_w,&min_h);
	min_x = (LCD_WIDTH)/2;
	min_y = (LCD_HEIGHT)/2;

	if(minute<15)
	{
		if((hour%12)<3)							//分针时针有重叠，透明显示
		{
			DrawAnalogHourPic(hour);
			LCD_dis_pic_trans_rotate(min_x-offset_x,min_y+offset_y-min_h,min_pic[minute%15],BLACK,0);
		}
		else if((hour%12)==3)		//临界点，分针不透明显示，但是不能遮盖时针
		{
			LCD_dis_pic_rotate(min_x-offset_x,min_y+offset_y-min_h,min_pic[minute%15],0);
			DrawAnalogHourPic(hour);
		}
		else
			LCD_dis_pic_rotate(min_x-offset_x,min_y+offset_y-min_h,min_pic[minute%15],0);
	}
	else if((minute>=15) && (minute<30))
	{
		if(((hour%12)>=3) && ((hour%12)<6))	//分针时针有重叠，透明显示
		{
			DrawAnalogHourPic(hour);
			LCD_dis_pic_trans_rotate(min_x-offset_x,min_y-offset_y,min_pic[minute%15],BLACK,90);
		}
		else if((hour%12)==6)		//临界点，分针不透明显示，但是不能遮盖时针
		{
			LCD_dis_pic_rotate(min_x-offset_x,min_y-offset_y,min_pic[minute%15],90);
			DrawAnalogHourPic(hour);
		}
		else
			LCD_dis_pic_rotate(min_x-offset_x,min_y-offset_y,min_pic[minute%15],90);
	}
	else if((minute>=30) && (minute<45))
	{
		if(((hour%12)>=6) && ((hour%12)<9))	//分针时针有重叠，透明显示
		{
			DrawAnalogHourPic(hour);
			LCD_dis_pic_trans_rotate(min_x+offset_x-min_w,min_y-offset_y,min_pic[minute%15],BLACK,180);
		}
		else if((hour%12)==9)		//临界点，分针不透明显示，但是不能遮盖时针
		{
			LCD_dis_pic_rotate(min_x+offset_x-min_w,min_y-offset_y,min_pic[minute%15],180);
			DrawAnalogHourPic(hour);
		}
		else
			LCD_dis_pic_rotate(min_x+offset_x-min_w,min_y-offset_y,min_pic[minute%15],180);
	}
	else if((minute>=45) && (minute<60))
	{
		if((hour%12)>=9)	//分针时针有重叠，透明显示
		{
			DrawAnalogHourPic(hour);
			LCD_dis_pic_trans_rotate(min_x+offset_x-min_w,min_y+offset_y-min_h,min_pic[minute%15],BLACK,270);
		}
		else if((hour%12)==0)		//临界点，分针不透明显示，但是不能遮盖时针
		{
			LCD_dis_pic_rotate(min_x+offset_x-min_w,min_y+offset_y-min_h,min_pic[minute%15],270);
			DrawAnalogHourPic(hour);
		}
		else
			LCD_dis_pic_rotate(min_x+offset_x-min_w,min_y+offset_y-min_h,min_pic[minute%15],270);
	}
}
#endif

/***************************************************************************
* 描  述 : idle_show_digit_clock 待机界面显示数字时钟
* 入  参 : 无 
* 返回值 : 无
**************************************************************************/
void idle_show_digital_clock(void)
{
	IdleShowSystemTime();
	
	if(show_date_time_first || ((date_time_changed&0x38) != 0))
	{
		IdleShowSystemDate();
		IdleShowSystemWeek();

		if(show_date_time_first)
			show_date_time_first = false;
		if((date_time_changed&0x38) != 0)
			date_time_changed = date_time_changed&0xC7;//清空日期变化标志位
	}
}

#ifdef ANALOG_CLOCK
/***************************************************************************
* 描  述 : idle_show_analog_clock 待机界面显示模拟时钟
* 入  参 : 无 
* 返回值 : 无
**************************************************************************/
void idle_show_analog_clock(void)
{
	uint8_t str_date[20] = {0};
	uint8_t str_week[20] = {0};
	uint8_t *week_cn[7] = {"周日", "周一", "周二", "周三", "周四", "周五", "周六"};
	uint8_t *week_en[7] = {"SUN", "MON", "TUE", "WED", "THU", "FRI", "SAT"};
	uint16_t str_w,str_h;

	POINT_COLOR=WHITE;								//画笔颜色
	BACK_COLOR=BLACK;  								//背景色 

#ifdef FONTMAKER_UNICODE_FONT
	LCD_SetFontSize(FONT_SIZE_20);
#else
	LCD_SetFontSize(FONT_SIZE_16);
#endif

	sprintf((char*)str_date, "%02d/%02d", date_time.day,date_time.month);
	if(global_settings.language == LANGUAGE_CHN)
		strcpy(str_week, week_cn[date_time.week]);
	else
		strcpy(str_week, week_en[date_time.week]);
	
	if(show_date_time_first)
	{
		show_date_time_first = false;
		DrawAnalogHourPic(date_time.hour);
		DrawAnalogMinPic(date_time.hour, date_time.minute);

		LCD_MeasureString(str_week, &str_w, &str_h);
		LCD_ShowString((LCD_WIDTH-str_w)/2, 15, str_week);

		LCD_MeasureString(str_date, &str_w, &str_h);
		LCD_ShowString((LCD_WIDTH-str_w)/2, 33, str_date);
	}
	else if(date_time_changed != 0)
	{
		if((date_time_changed&0x04) != 0)
		{
			DrawAnalogHourPic(date_time.hour);
			date_time_changed = date_time_changed&0xFB;
		}	
		if((date_time_changed&0x02) != 0)//分钟有变化
		{
			DrawAnalogHourPic(date_time.hour);
			DrawAnalogMinPic(date_time.hour, date_time.minute);
			date_time_changed = date_time_changed&0xFD;
		}
		if((date_time_changed&0x38) != 0)
		{
			LCD_MeasureString(str_week, &str_w, &str_h);
			LCD_ShowString((LCD_WIDTH-str_w)/2, 15, str_week);

			LCD_MeasureString(str_date, &str_w, &str_h);
			LCD_ShowString((LCD_WIDTH-str_w)/2, 33, str_date);

			date_time_changed = date_time_changed&0xC7;//清空日期变化标志位
		}
	}
}
#endif

void idle_show_clock_background(void)
{
	LCD_Clear(BLACK);
	BACK_COLOR=BLACK;
	POINT_COLOR=WHITE;

#ifdef FONTMAKER_UNICODE_FONT
	LCD_SetFontSize(FONT_SIZE_20);
#else	
	LCD_SetFontSize(FONT_SIZE_16);
#endif

#ifdef ANALOG_CLOCK	
	if(global_settings.idle_colck_mode == CLOCK_MODE_ANALOG)
	{
		LCD_dis_pic(0,0,clock_bg_80X160);
	}
#endif
}

/***************************************************************************
* 描  述 : idle_show_time 待机界面显示时间
* 入  参 : 无 
* 返回值 : 无
**************************************************************************/
void idle_show_time(void)
{	
	if(global_settings.idle_colck_mode == CLOCK_MODE_ANALOG)
	{
	#ifdef ANALOG_CLOCK
		if((date_time_changed&0x02) != 0)
		{
			ClearAnalogMinPic(date_time.minute);//擦除以前的分钟
		}
		if((date_time_changed&0x04) != 0)
		{
			ClearAnalogHourPic(date_time.hour);//擦除以前的时钟
		}

		idle_show_analog_clock();
	#endif
	}
	else
	{
	#ifdef DIGITAL_CLOCK
		if((date_time_changed&0x01) != 0)
		{
			date_time_changed = date_time_changed&0xFE;
			BlockWrite((LCD_WIDTH-8*8)/2+6*8,(LCD_HEIGHT-16)/2,2*8,16);//擦除以前的秒钟
		}
		if((date_time_changed&0x02) != 0)
		{
			date_time_changed = date_time_changed&0xFD;
			BlockWrite((LCD_WIDTH-8*8)/2+3*8,(LCD_HEIGHT-16)/2,2*8,16);//擦除以前的分钟
		}
		if((date_time_changed&0x04) != 0)
		{
			date_time_changed = date_time_changed&0xFB;
			BlockWrite((LCD_WIDTH-8*8)/2,(LCD_HEIGHT-16)/2,2*8,16);//擦除以前的时钟
		}
		
		if((date_time_changed&0x38) != 0)
		{			
			BlockWrite((LCD_WIDTH-10*8)/2,(LCD_HEIGHT-16)/2+30,10*8,16);
		}
		
		idle_show_digital_clock();
	#endif
	}
}

void test_show_analog_clock(void)
{
	uint32_t err_code;
	
	global_settings.idle_colck_mode = CLOCK_MODE_ANALOG;
	
	idle_show_clock_background();
	idle_show_time();
}

void test_show_digital_clock(void)
{
	uint32_t err_code;
	
	global_settings.idle_colck_mode == CLOCK_MODE_DIGITAL;
	
	idle_show_clock_background();
	idle_show_time();
}

void test_show_image(void)
{
	uint8_t i=3;
	uint16_t x,y,w=0,h=0;

	LOGD("test_show_image");
	
	LCD_Clear(BLACK);
	
	//LCD_get_pic_size(peppa_pig_160X160, &w, &h);
	//LCD_dis_pic_rotate(0,200,peppa_pig_160X160,270);
	//LCD_dis_pic(0, 0, peppa_pig_160X160);
	//LCD_get_pic_size_from_flash(IMG_ANALOG_CLOCK_HAND_HOUR_ADDR, &w, &h);
	//LCD_dis_pic_from_flash((LCD_WIDTH-w)/2, (LCD_HEIGHT-h)/2, IMG_ANALOG_CLOCK_HAND_SEC_ADDR);
	//LCD_dis_pic_rotate_from_flash((LCD_WIDTH-w)/2, (LCD_HEIGHT-h)/2, IMG_ANALOG_CLOCK_HAND_HOUR_ADDR, 270);
	//LCD_dis_pic_angle_from_flash(0, 0, IMG_ANALOG_CLOCK_HAND_SEC_ADDR, 360);
	while(1)
	{
		LCD_Clear(BLACK);
		LCD_dis_pic_angle_from_flash(0, 0, IMG_ANALOG_CLOCK_HAND_SEC_ADDR, i*30);
	#if 0	
		switch(i)
		{
			case 0:
				//LCD_dis_pic(w*0,h*0,peppa_pig_160X160);
				//LCD_dis_pic_trans(w*0,h*0,peppa_pig_80X160,WHITE);
				LCD_dis_pic_from_flash(w*0, h*0, IMG_ANALOG_CLOCK_BG_ADDR);
				//LCD_dis_pic_rotate((LCD_WIDTH-w)/2,(LCD_HEIGHT-h)/2,peppa_pig_160X160,0);
				//LCD_dis_pic_trans_rotate((LCD_WIDTH-w)/2,(LCD_HEIGHT-h)/2,peppa_pig_160X160,WHITE,0);
				break;
			case 1:
				//LCD_dis_pic(w*1,h*0,peppa_pig_160X160);
				//LCD_dis_pic_trans(w*1,h*0,peppa_pig_80X160,WHITE);
				LCD_dis_pic_from_flash(w*1, h*0, IMG_ANALOG_CLOCK_BG_ADDR);
				//LCD_dis_pic_rotate((LCD_WIDTH-w)/2,(LCD_HEIGHT-h)/2,peppa_pig_160X160,90);
				//LCD_dis_pic_trans_rotate((LCD_WIDTH-w)/2,(LCD_HEIGHT-h)/2,peppa_pig_160X160,WHITE,90);
				break;
			case 2:
				//LCD_dis_pic(w*1,h*1,peppa_pig_160X160);
				//LCD_dis_pic_trans(w*1,h*1,peppa_pig_80X160,WHITE);
				LCD_dis_pic_from_flash(w*1, h*1, IMG_ANALOG_CLOCK_BG_ADDR);
				//LCD_dis_pic_rotate((LCD_WIDTH-w)/2,(LCD_HEIGHT-h)/2,peppa_pig_160X160,180);
				//LCD_dis_pic_trans_rotate((LCD_WIDTH-w)/2,(LCD_HEIGHT-h)/2,peppa_pig_160X160,WHITE,180);
				break;
			case 3:
				//LCD_dis_pic(w*0,h*1,peppa_pig_160X160);
				//LCD_dis_pic_trans(w*0,h*1,peppa_pig_80X160,WHITE);
				LCD_dis_pic_from_flash(w*0, h*1, IMG_ANALOG_CLOCK_BG_ADDR);
				//LCD_dis_pic_rotate((LCD_WIDTH-w)/2,(LCD_HEIGHT-h)/2,peppa_pig_160X160,270);
				//LCD_dis_pic_trans_rotate((LCD_WIDTH-w)/2,(LCD_HEIGHT-h)/2,peppa_pig_160X160,WHITE,270);
				break;
			case 4:
				LCD_Fill(w*0,h*0,w,h,BLACK);
				break;
			case 5:
				LCD_Fill(w*1,h*0,w,h,BLACK);
				break;
			case 6:
				LCD_Fill(w*1,h*1,w,h,BLACK);
				break;
			case 7:
				LCD_Fill(w*0,h*1,w,h,BLACK);
				break;
		}
	#endif

		if(i==0)
			i=11;
		else
			i--;
		
		k_sleep(K_MSEC(1000));								//软件延时1000ms
	}
}

void test_show_stripe(void)
{
	uint16_t x,y,w,h;
	uint8_t i;
	uint16_t color[] = {WHITE,BLACK,RED,GREEN,BLUE,GBLUE,MAGENTA,CYAN,YELLOW,BROWN,BRRED,GRAY};
	
	h = LCD_HEIGHT/8;

	for(i=0;i<8;i++)
	{
		LCD_Fill(0, h*i, LCD_WIDTH, h, color[i%5]);
	}
}

void test_show_color(void)
{
	uint8_t i=0;

	LOGD("test_show_color");
	
	while(1)
	{
		switch(i)
		{
			case 0:
				LCD_Clear(WHITE);
				break;
			case 1:
				LCD_Clear(BLACK);
				break;
			case 2:
				LCD_Clear(RED);
				break;
			case 3:
				LCD_Clear(GREEN);
				break;
			case 4:
				LCD_Clear(BLUE);
				break;
			case 5:
				LCD_Clear(YELLOW);
				break;
			case 6:
				LCD_Clear(GBLUE);
				break;
			case 7:
				LCD_Clear(MAGENTA);
				break;
			case 8:
				LCD_Clear(CYAN);
				break;
			case 9:
				LCD_Clear(BROWN);
				break;
			case 10:
				LCD_Clear(BRRED);
				break;
			case 11:
				LCD_Clear(GRAY);
				break;					
		}
		
		i++;
		if(i>=12)
			i=0;
		
		k_sleep(K_MSEC(1000));								//软件延时1000ms
	}
}

void test_show_string(void)
{
	uint16_t x,y,w,h;
	uint8_t enbuf[64] = {0};
	uint8_t cnbuf[64] = {0};
	uint8_t jpbuf[64] = {0};
	uint16_t en_unibuf[64] = {0x0041,0x0075,0x0067,0x0075,0x0073,0x0074,0x0020,0x0053,0x0068,0x0065,0x006E,0x007A,0x0068,0x0065,0x006E,0x0020,0x0044,0x0049,0x0067,0x0049,0x0074,0x0061,0x006C,0x0020,0x004C,0x0074,0x0064,0x0000};
	uint16_t cn_unibuf[64] = {0x6DF1,0x5733,0x5E02,0x5965,0x79D1,0x65AF,0x6570,0x7801,0x6709,0x9650,0x516C,0x53F8,0x0000};
	uint16_t jp_unibuf[64] = {0x6DF1,0x30BB,0x30F3,0x5E02,0x30AA,0x30FC,0x30B3,0x30B9,0x30C7,0x30B8,0x30BF,0x30EB,0x6709,0x9650,0x4F1A,0x793E,0x0000};

	LCD_Clear(BLACK);
	
	POINT_COLOR=WHITE;								//画笔颜色
	BACK_COLOR=BLACK;  								//背景色 

#ifdef FONTMAKER_UNICODE_FONT
#if 0//def FONT_64
	LCD_SetFontSize(FONT_SIZE_64);					//设置字体大小
#elif 0//defined(FONT_48)
	LCD_SetFontSize(FONT_SIZE_48);					//设置字体大小
#elif 0//defined(FONT_32)
	LCD_SetFontSize(FONT_SIZE_32);					//设置字体大小	
#elif 0//defined(FONT_24)
	LCD_SetFontSize(FONT_SIZE_24);					//设置字体大小
#elif defined(FONT_16)
	LCD_SetFontSize(FONT_SIZE_16);					//设置字体大小
#endif
	LCD_MeasureUniString(en_unibuf,&w,&h);
	x = (w > LCD_WIDTH)? 0 : (LCD_WIDTH-w)/2;
	y = 30;	
	LCD_ShowUniString(x,y,en_unibuf);

	LCD_MeasureUniString(cn_unibuf,&w,&h);
	x = (w > LCD_WIDTH)? 0 : (LCD_WIDTH-w)/2;
	y = y + h + 2;
	LCD_ShowUniString(x,y,cn_unibuf);

	LCD_MeasureUniString(jp_unibuf,&w,&h);
	x = (w > LCD_WIDTH)? 0 : (LCD_WIDTH-w)/2;
	y = y + h + 2;
	LCD_ShowUniString(x,y,jp_unibuf);

#if 0
#ifdef FONT_24
	LCD_SetFontSize(FONT_SIZE_24);					//设置字体大小
#endif
	LCD_MeasureUniString(cn_unibuf,&w,&h);
	x = (w > LCD_WIDTH)? 0 : (LCD_WIDTH-w)/2;
	y = y + h + 2;	
	LCD_ShowUniString(x,y,cn_unibuf);
	
	LCD_MeasureUniString(en_unibuf,&w,&h);
	x = (w > LCD_WIDTH)? 0 : (LCD_WIDTH-w)/2;
	y = y + h + 2;	
	LCD_ShowUniString(x,y,en_unibuf);

#ifdef FONT_32
	LCD_SetFontSize(FONT_SIZE_32);					//设置字体大小
#endif
	LCD_MeasureUniString(cn_unibuf,&w,&h);
	x = (w > LCD_WIDTH)? 0 : (LCD_WIDTH-w)/2;
	y = y + h + 2;	
	LCD_ShowUniString(x,y,cn_unibuf);
	
	LCD_MeasureUniString(en_unibuf,&w,&h);
	x = (w > LCD_WIDTH)? 0 : (LCD_WIDTH-w)/2;
	y = y + h + 2;
	LCD_ShowUniString(x,y,en_unibuf);
#endif
#else
	strcpy(enbuf, "August Shenzhen Digital Ltd");
	strcpy(cnbuf, "深圳市奥科斯数码有限公司");
	strcpy(jpbuf, "深セン市オーコスデジタル有限会社");

#ifdef FONT_32
	LCD_SetFontSize(FONT_SIZE_32);					//设置字体大小	
#elif defined(FONT_24)
	LCD_SetFontSize(FONT_SIZE_24);					//设置字体大小
#elif defined(FONT_16)
	LCD_SetFontSize(FONT_SIZE_16);					//设置字体大小
#endif

	LCD_MeasureString(enbuf,&w,&h);
	x = (w > LCD_WIDTH)? 0 : (LCD_WIDTH-w)/2;
	y = y + h + 2;	
	LCD_ShowString(x,y,enbuf);
	
	LCD_MeasureString(cnbuf,&w,&h);
	x = (w > LCD_WIDTH)? 0 : (LCD_WIDTH-w)/2;
	y = y + h + 2;
	LCD_ShowString(x,y,cnbuf);
	
	LCD_MeasureString(jpbuf,&w,&h);
	x = (w > LCD_WIDTH)? 0 : (LCD_WIDTH-w)/2;
	y = y + h + 2;
	LCD_ShowString(x,y,jpbuf);

#if 0
#ifdef FONT_24
	LCD_SetFontSize(FONT_SIZE_24);					//设置字体大小
#endif
	LCD_MeasureString(cnbuf,&w,&h);
	x = (w > LCD_WIDTH)? 0 : (LCD_WIDTH-w)/2;
	y = y + h + 2;	
	LCD_ShowString(x,y,cnbuf);
	
	LCD_MeasureString(enbuf,&w,&h);
	x = (w > LCD_WIDTH)? 0 : (LCD_WIDTH-w)/2;
	y = y + h + 2;	
	LCD_ShowString(x,y,enbuf);

#ifdef FONT_32
	LCD_SetFontSize(FONT_SIZE_32);					//设置字体大小
#endif
	LCD_MeasureString(cnbuf,&w,&h);
	x = (w > LCD_WIDTH)? 0 : (LCD_WIDTH-w)/2;
	y = y + h + 2;	
	LCD_ShowString(x,y,cnbuf);
	
	LCD_MeasureString(enbuf,&w,&h);
	x = (w > LCD_WIDTH)? 0 : (LCD_WIDTH-w)/2;
	y = y + h + 2;
	LCD_ShowString(x,y,enbuf);
#endif
#endif
}

void test_notify(void)
{
	notify_infor infor = {0};
	uint16_t str_note[LANGUAGE_MAX][80] = {
											{0x0054,0x0068,0x0065,0x0020,0x0074,0x0069,0x006D,0x0069,0x006E,0x0067,0x0020,0x006D,0x0065,0x0061,0x0073,0x0075,0x0072,0x0065,0x006D,0x0065,0x006E,0x0074,0x0020,0x0069,0x0073,0x0020,0x0061,0x0062,0x006F,0x0075,0x0074,0x0020,0x0074,0x006F,0x0020,0x0073,0x0074,0x0061,0x0072,0x0074,0x002C,0x0020,0x0061,0x006E,0x0064,0x0020,0x0074,0x0068,0x0069,0x0073,0x0020,0x006D,0x0065,0x0061,0x0073,0x0075,0x0072,0x0065,0x006D,0x0065,0x006E,0x0074,0x0020,0x0069,0x0073,0x0020,0x006F,0x0076,0x0065,0x0072,0x0021,0x0000},//The timing measurement is about to start, and this measurement is over!
											{0x0044,0x0069,0x0065,0x0020,0x005A,0x0065,0x0069,0x0074,0x006D,0x0065,0x0073,0x0073,0x0075,0x006E,0x0067,0x0020,0x0073,0x0074,0x0065,0x0068,0x0074,0x0020,0x006B,0x0075,0x0072,0x007A,0x0020,0x0062,0x0065,0x0076,0x006F,0x0072,0x002C,0x0020,0x0075,0x006E,0x0064,0x0020,0x0064,0x0069,0x0065,0x0073,0x0065,0x0020,0x004D,0x0065,0x0073,0x0073,0x0075,0x006E,0x0067,0x0020,0x0069,0x0073,0x0074,0x0020,0x0076,0x006F,0x0072,0x0062,0x0065,0x0069,0x0021,0x0000},//Die Zeitmessung steht kurz bevor, und diese Messung ist vorbei!
											{0x5B9A,0x65F6,0x6D4B,0x91CF,0x5373,0x5C06,0x5F00,0x59CB,0xFF0C,0x672C,0x6B21,0x6D4B,0x91CF,0x7ED3,0x675F,0xFF01,0x0000},//定时测量即将开始，本次测量结束！
										};

#ifdef FONTMAKER_UNICODE_FONT
	LCD_SetFontSize(FONT_SIZE_20);
#else		
	LCD_SetFontSize(FONT_SIZE_16);
#endif
	
	infor.x = 0;
	infor.y = 0;
	infor.w = LCD_WIDTH;
	infor.h = LCD_HEIGHT;

	infor.align = NOTIFY_ALIGN_CENTER;
	infor.type = NOTIFY_TYPE_POPUP;

	infor.img_count = 0;
	mmi_ucs2cpy(infor.text, (uint8_t*)str_note[0]);

	DisplayPopUp(infor);
}

void system_init(void)
{
	k_sleep(K_MSEC(500));//xb test 2022-03-11 启动时候延迟0.5S,等待其他外设完全启动
	
#ifdef CONFIG_FOTA_DOWNLOAD
	fota_init();
#endif

	InitSystemSettings();

#ifdef CONFIG_PPG_SUPPORT
	ppg_pre_init();
#endif

	pmu_init();
	flash_init();
	LCD_Init();
	
	ShowBootUpLogo();

	key_init();
#ifdef CONFIG_AUDIO_SUPPORT	
	audio_init();
#endif
	ble_init();
#ifdef CONFIG_PPG_SUPPORT	
	PPG_init();
#endif
#ifdef CONFIG_IMU_SUPPORT
	IMU_init(&imu_work_q);
#endif
#ifdef CONFIG_TEMP_SUPPORT
	temp_init();
#endif
#ifdef CONFIG_DATA_DOWNLOAD_SUPPORT
	dl_init();
#endif
	NB_init(&nb_work_q);
	GPS_init(&gps_work_q);
}

void work_init(void)
{
	k_work_q_start(&nb_work_q, nb_stack_area,
					K_THREAD_STACK_SIZEOF(nb_stack_area),
					CONFIG_APPLICATION_WORKQUEUE_PRIORITY);
#ifdef CONFIG_IMU_SUPPORT	
	k_work_q_start(&imu_work_q, imu_stack_area,
					K_THREAD_STACK_SIZEOF(imu_stack_area),
					CONFIG_APPLICATION_WORKQUEUE_PRIORITY);
#endif
	k_work_q_start(&gps_work_q, gps_stack_area,
					K_THREAD_STACK_SIZEOF(gps_stack_area),
					CONFIG_APPLICATION_WORKQUEUE_PRIORITY);	
	
	if(IS_ENABLED(CONFIG_WATCHDOG))
	{
		watchdog_init_and_start(&k_sys_work_q);
	}
}

bool system_is_completed(void)
{
	return sys_pwron_completed_flag;
}

void system_init_completed(void)
{
	if(!sys_pwron_completed_flag)
		sys_pwron_completed_flag = true;
}

/***************************************************************************
* 描  述 : main函数 
* 入  参 : 无 
* 返回值 : int 类型
**************************************************************************/
int main(void)
{
	work_init();
	system_init();

//	test_show_string();
//	test_show_image();
//	test_show_color();
//	test_show_stripe();
//	test_nvs();
//	test_flash();
//	test_uart_ble();
//	test_sensor();
//	test_show_digital_clock();
//	test_sensor();
//	test_pmu();
//	test_crypto();
//	test_imei();
//	test_tp();
//	test_gps_on();
//	test_nb();
//	test_i2c();
//	test_bat_soc();
//	test_notify();

	while(1)
	{
		KeyMsgProcess();
		TimeMsgProcess();
		NBMsgProcess();
	#ifdef CONFIG_WIFI	
		WifiProcess();
	#endif
		GPSMsgProcess();
		PMUMsgProcess();
	#ifdef CONFIG_IMU_SUPPORT	
		IMUMsgProcess();
	#ifdef CONFIG_FALL_DETECT_SUPPORT
		FallMsgProcess();
	#endif
	#endif
	#ifdef CONFIG_PPG_SUPPORT	
		PPGMsgProcess();
	#endif
		LCDMsgProcess();
	#ifdef CONFIG_TOUCH_SUPPORT
		TPMsgProcess();
	#endif
		AlarmMsgProcess();
		SettingsMsgPorcess();
		SOSMsgProc();
		UartMsgProc();
	#ifdef CONFIG_ANIMATION_SUPPORT
		AnimaMsgProcess();
	#endif		
		ScreenMsgProcess();
	#ifdef CONFIG_DATA_DOWNLOAD_SUPPORT
		DlMsgProc();
	#endif
	#ifdef CONFIG_FOTA_DOWNLOAD
		FotaMsgProc();
	#endif
	#ifdef CONFIG_AUDIO_SUPPORT
		AudioMsgProcess();
	#endif
	#ifdef CONFIG_SYNC_SUPPORT
		SyncMsgProcess();
	#endif
	#ifdef CONFIG_TEMP_SUPPORT
		TempMsgProcess();
	#endif
		system_init_completed();
		k_cpu_idle();
	}
}
```
